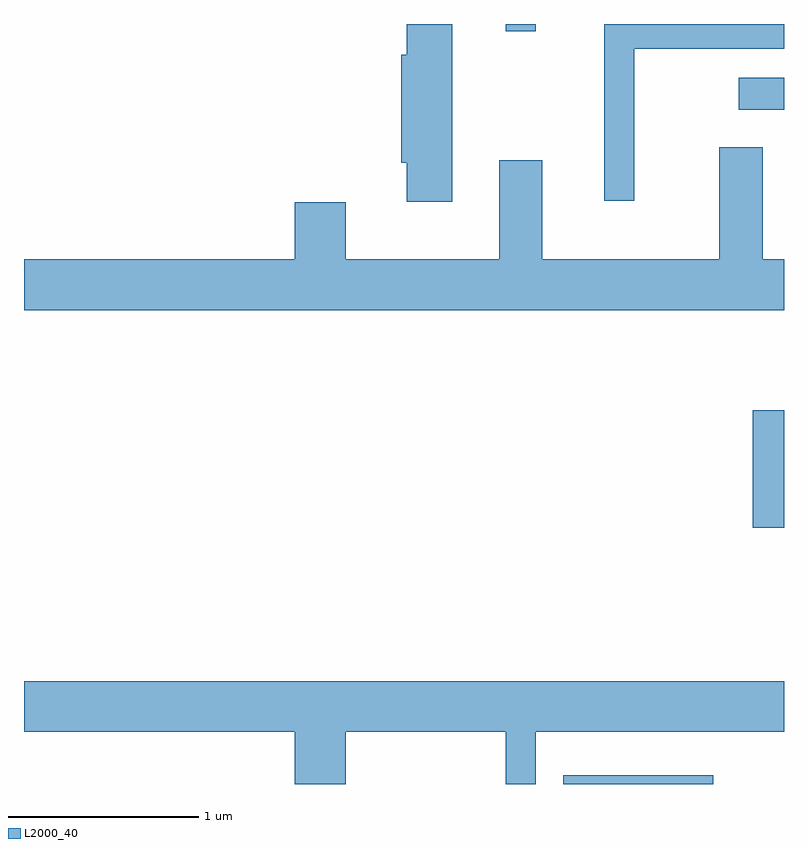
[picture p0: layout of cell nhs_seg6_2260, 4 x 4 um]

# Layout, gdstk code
import gdstk
lib = gdstk.Library(unit=1e-6, precision=1e-09)
def R(c, l, rs):  # rectangles x0, y0, x1, y1
    for r in rs: c.add(gdstk.rectangle(r[:2], r[2:], *l))
def P(c, l, *ps):  # polygons
    for p in ps: c.add(gdstk.Polygon(p, *l))
L2000_40 = (2000, 40)

nhs_seg6_2260 = lib.new_cell('nhs_seg6_2260')
R(nhs_seg6_2260, L2000_40, [(256.448,1594.162,257.239,1594.209), (257.446,1595.511,257.611,1596.129), (257.373,1597.711,257.611,1597.879), (256.146,1598.123,256.304,1598.162)])
P(nhs_seg6_2260, L2000_40, [(255.864,1598.162),(255.626,1598.162),(255.626,1597.999),(255.596,1597.999),(255.596,1597.431),(255.626,1597.431),(255.626,1597.226),(255.864,1597.226)],
  [(256.824,1598.031),(257.611,1598.031),(257.611,1598.162),(256.666,1598.162),(256.666,1597.233),(256.824,1597.233)],
  [(257.611,1596.924),(257.499,1596.924),(257.499,1597.514),(257.271,1597.514),(257.271,1596.924),(256.339,1596.924),(256.339,1597.444),(256.111,1597.444),(256.111,1596.924),(255.304,1596.924),(255.304,1597.224),(255.036,1597.224),(255.036,1596.924),(253.611,1596.924),(253.611,1596.656),(257.611,1596.656)],
  [(255.304,1594.436),(256.146,1594.436),(256.146,1594.162),(256.304,1594.162),(256.304,1594.436),(257.611,1594.436),(257.611,1594.704),(253.611,1594.704),(253.611,1594.436),(255.036,1594.436),(255.036,1594.162),(255.304,1594.162)])

lib.write_gds('nhs_seg6_2260.gds')
